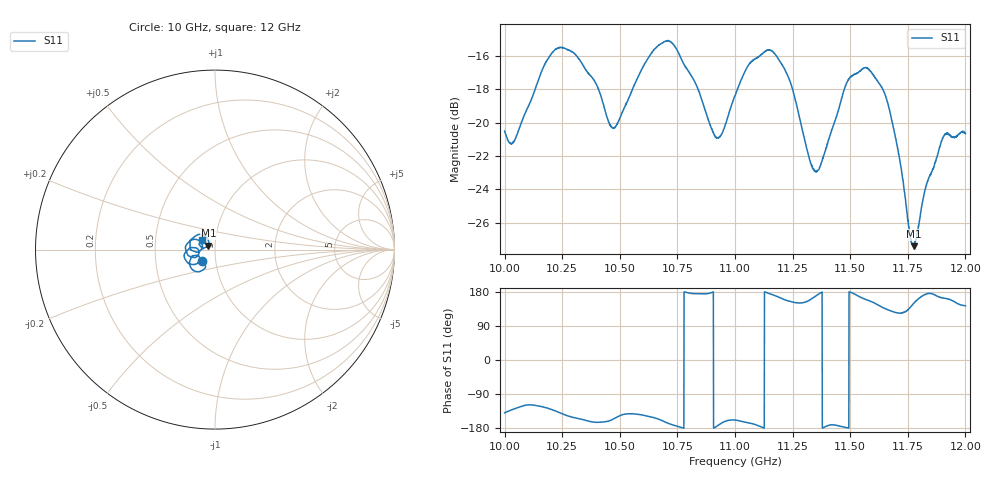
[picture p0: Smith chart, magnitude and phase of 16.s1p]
[Version] 2.0
! Rohde & Schwarz Vector Network Analyzer
! Rohde-Schwarz,ZNL20-2Port,1323001220200009,1.71.1.10-23.02.1.238
! Port Assignments:
! Nominal Port -> Actual Test Port
!  1 -> 1
! Created: GMT 2024-08-27 13:55:04
# Hz S DB R 50
[Number of Ports] 1
! freq[Hz]  S11[mag dB]  S11[ang]
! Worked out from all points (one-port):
!   2001 points, 10 GHz to 12 GHz, reference 50 ohm
!   lowest |S11| = -27.4 dB at 11.78 GHz (marker M1), VSWR 1.09, Z = 46.4 + j2.03 ohm
!   |S11| at or under -10 dB: start of sweep to end of sweep
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[Number of Frequencies] 28
[Network Data]
1e10  -20.50 -139.3
1.004e10  -21.13 -129.6
1.0175e10  -16.50 -124.9
1.025e10  -15.50 -141.9
1.0388e10  -17.44 -164.0
1.0462e10  -20.21 -158.8
1.05e10  -19.73 -146.9
1.0646e10  -15.68 -151.8
1.0709e10  -15.07 -166.8
1.075e10  -15.68 -175.0
1.0831e10  -17.71 174.9
1.0918e10  -20.90 -176.1
1.0946e10  -20.57 -165.0
1.1e10  -18.39 -158.6
1.1061e10  -16.50 -166.4
1.1145e10  -15.64 176.2
1.125e10  -17.98 152.8
1.1322e10  -22.11 157.3
1.1354e10  -22.92 170.1
1.15e10  -17.27 179.1
1.1573e10  -16.72 158.4
1.1646e10  -18.13 137.0
1.1706e10  -21.58 124.1
1.175e10  -25.88 131.7
1.1775e10  -27.41 149.2
1.1829e10  -23.78 173.8
1.1902e10  -20.92 164.0
1.2e10  -20.66 142.9
[End]
